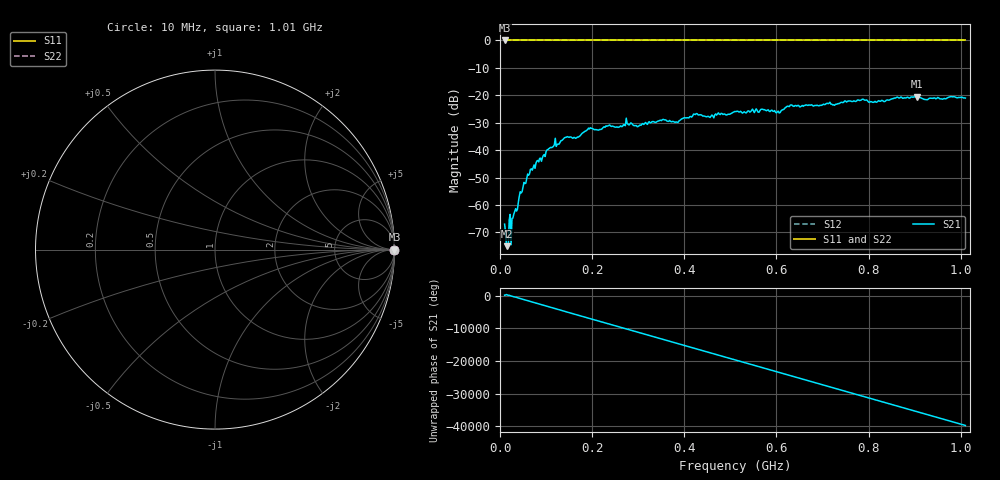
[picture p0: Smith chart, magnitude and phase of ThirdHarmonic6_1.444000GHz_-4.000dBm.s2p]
! 8/16/2025 4:42:28 PM
! C:\ANRITSUVNA\TEMP\TEMP.S2P
! CHANNEL.1
! TR.MEASUREMENT
! RAW.DATA
! RF.CORRECTION.OFF
! AVERAGING.OFF
! IF.BANDWIDTH: 5KHZ
! SWEEPTYPE:  FREQ.SWEEP(Linear)
! Reference Plane Port Info
! PORT:  PORT1  PORT2
! DISTANCE:  0  m  0  m
! TIME:  0  s  0  s
! PHASE.OFFSET:  0  deg.  0  deg.
! LOSS:  0  dB  0  dB
! REF.LOSS:  0  dB  0  dB
! REF.FREQ:  0  Hz  0  Hz
! Power Info
! POWER:  -20  dBm  -20  dBm
! EFF.POWER:  -20  dBm  -20  dBm
! SOURCE.ATTEN:  0  dB  0  dB
! TEST.ATTEN:  0  dB  0  dB
# GHZ S RI R 50.0
! FREQ.GHZ  S11RE  S11IM  S21RE  S21IM  S12RE  S12IM  S22RE  S22IM
!; PortSelection: Port_12
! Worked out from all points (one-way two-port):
!   501 points, 10 MHz to 1.01 GHz, reference 50 ohm
!   highest |S21| = -20.44 dB at 904 MHz (marker M1); lowest = -75.0 dB at 16 MHz (marker M2)
!   lowest |S11| = 0.0 dB at 10 MHz (marker M3)
!   |S11| at or under -10 dB: nowhere
!   |S22| runs from 0.0 to 0.0 dB; largest |S21 - S12| = 1.1
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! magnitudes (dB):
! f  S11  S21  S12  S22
! 10 MHz  0.0  -67.0  0.0  0.0
! 14 MHz  0.0  -74.5  0.0  0.0
! 16 MHz  0.0  -75.0  0.0  0.0
! 48 MHz  0.0  -55.1  0.0  0.0
! 70 MHz  0.0  -47.3  0.0  0.0
! 116 MHz  0.0  -38.6  0.0  0.0
! 178 MHz  0.0  -33.9  0.0  0.0
! 196 MHz  0.0  -31.8  0.0  0.0
! 216 MHz  0.0  -32.5  0.0  0.0
! 278 MHz  0.0  -30.6  0.0  0.0
! 302 MHz  0.0  -31.1  0.0  0.0
! 344 MHz  0.0  -29.4  0.0  0.0
! 382 MHz  0.0  -29.7  0.0  0.0
! 424 MHz  0.0  -27.0  0.0  0.0
! 452 MHz  0.0  -27.7  0.0  0.0
! 510 MHz  0.0  -25.9  0.0  0.0
! 604 MHz  0.0  -25.8  0.0  0.0
! 630 MHz  0.0  -23.6  0.0  0.0
! 678 MHz  0.0  -23.7  0.0  0.0
! 844 MHz  0.0  -21.8  0.0  0.0
! 904 MHz  0.0  -20.4  0.0  0.0
! 1.01 GHz  0.0  -21.0  0.0  0.0
